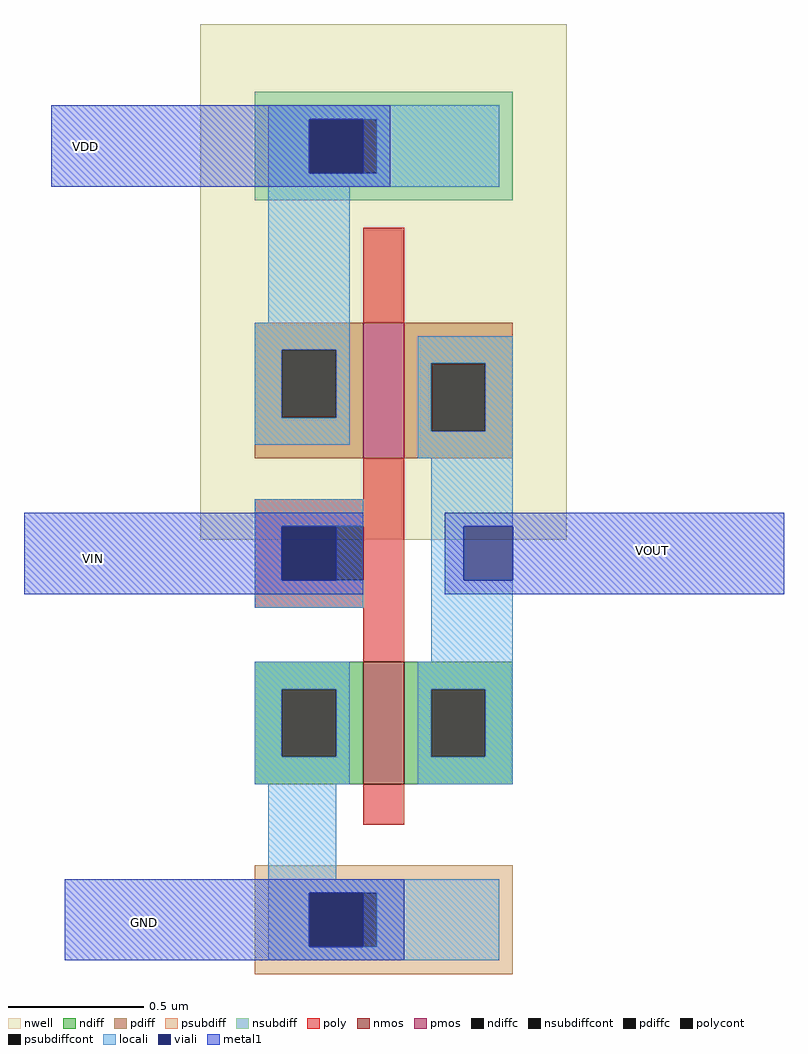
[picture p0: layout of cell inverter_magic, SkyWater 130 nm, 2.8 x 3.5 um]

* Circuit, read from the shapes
.subckt inverter_magic GND VDD VIN VOUT
XM1 VOUT VIN GND GND sky130_fd_pr__nfet_01v8 w=0.45 l=0.15
XM2 VOUT VIN VDD VDD sky130_fd_pr__pfet_01v8 w=0.5 l=0.15
.ends

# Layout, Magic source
magic
tech sky130A
<< nwell >>
rect -50 5 85 195
<< nmos >>
rect 10 -85 25 -40
<< pmos >>
rect 10 35 25 85
<< ndiff >>
rect -30 -50 10 -40
rect -30 -75 -20 -50
rect 0 -75 10 -50
rect -30 -85 10 -75
rect 25 -50 65 -40
rect 25 -75 35 -50
rect 55 -75 65 -50
rect 25 -85 65 -75
<< pdiff >>
rect -30 75 10 85
rect -30 50 -20 75
rect 0 50 10 75
rect -30 35 10 50
rect 25 70 65 85
rect 25 45 35 70
rect 55 45 65 70
rect 25 35 65 45
<< ndiffc >>
rect -20 -75 0 -50
rect 35 -75 55 -50
<< pdiffc >>
rect -20 50 0 75
rect 35 45 55 70
<< psubdiff >>
rect -30 -125 65 -115
rect -30 -145 -10 -125
rect 15 -145 65 -125
rect -30 -155 65 -145
<< nsubdiff >>
rect -30 160 65 170
rect -30 140 -10 160
rect 15 140 65 160
rect -30 130 65 140
<< psubdiffcont >>
rect -10 -145 15 -125
<< nsubdiffcont >>
rect -10 140 15 160
<< poly >>
rect 10 85 25 120
rect 10 20 25 35
rect -30 10 25 20
rect -30 -10 -20 10
rect 10 -10 25 10
rect -30 -20 25 -10
rect 10 -40 25 -20
rect 10 -100 25 -85
<< polycont >>
rect -20 -10 10 10
<< locali >>
rect -25 160 60 165
rect -25 140 -10 160
rect 15 140 60 160
rect -25 135 60 140
rect -25 85 5 135
rect -30 75 5 85
rect -30 50 -20 75
rect 0 50 5 75
rect -30 40 5 50
rect 30 70 65 80
rect 30 45 35 70
rect 55 45 65 70
rect 30 35 65 45
rect -30 10 10 20
rect -30 -10 -20 10
rect -30 -20 10 -10
rect 35 10 65 35
rect 35 -10 47 10
rect 35 -40 65 -10
rect -30 -50 5 -40
rect -30 -75 -20 -50
rect 0 -75 5 -50
rect -30 -85 5 -75
rect 30 -50 65 -40
rect 30 -75 35 -50
rect 55 -75 65 -50
rect 30 -85 65 -75
rect -25 -120 0 -85
rect -25 -125 60 -120
rect -25 -145 -10 -125
rect 15 -145 60 -125
rect -25 -150 60 -145
<< viali >>
rect -10 140 10 160
rect -20 -10 0 10
rect 47 -10 65 10
rect -10 -145 10 -125
<< metal1 >>
rect -105 160 20 165
rect -105 140 -10 160
rect 10 140 20 160
rect -105 135 20 140
rect -115 10 10 15
rect -115 -10 -20 10
rect 0 -10 10 10
rect -115 -15 10 -10
rect 40 10 165 15
rect 40 -10 47 10
rect 65 -10 165 10
rect 40 -15 165 -10
rect -100 -125 25 -120
rect -100 -145 -10 -125
rect 10 -145 25 -125
rect -100 -150 25 -145
<< labels >>
rlabel metal1 -95 145 -90 155 1 VDD
rlabel metal1 -92 -7 -87 3 1 VIN
rlabel metal1 114 -4 119 6 1 VOUT
rlabel metal1 -73 -141 -68 -131 1 GND
<< end >>
